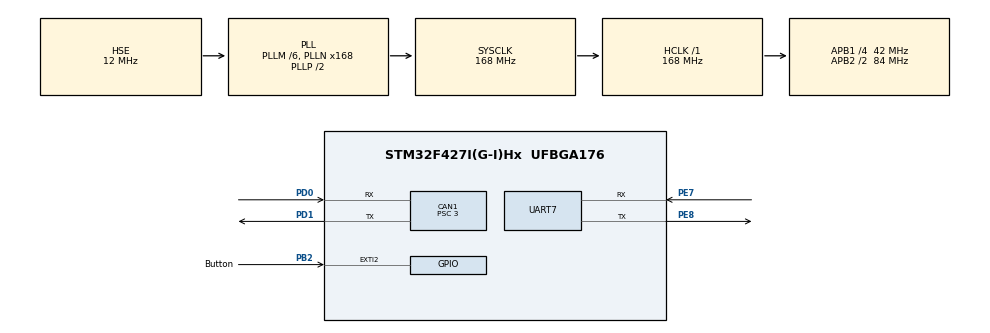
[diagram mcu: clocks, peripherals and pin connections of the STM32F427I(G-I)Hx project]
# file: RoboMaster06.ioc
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CAN1.ABOM=ENABLE
CAN1.BS1=CAN_BS1_11TQ
CAN1.BS2=CAN_BS2_2TQ
CAN1.CalculateTimeQuantum=71.42857142857143
CAN1.NART=ENABLE
CAN1.Prescaler=3
Mcu.Family=STM32F4
Mcu.Name=STM32F427I(G-I)Hx
Mcu.Package=UFBGA176
NVIC.CAN1_RX0_IRQn=true\:1\:0\:true\:false\:true\:true\:true
NVIC.CAN1_TX_IRQn=true\:1\:0\:true\:false\:true\:true\:true
NVIC.EXTI2_IRQn=true\:1\:0\:true\:false\:true\:true\:true
NVIC.PriorityGroup=NVIC_PRIORITYGROUP_4
NVIC.UART7_IRQn=true\:1\:0\:true\:false\:true\:true\:true
PB2/BOOT1.GPIO_Label=Button
PB2/BOOT1.Signal=GPXTI2
PD0.Mode=Master
PD0.Signal=CAN1_RX
PD1.Mode=Master
PD1.Signal=CAN1_TX
PE7.Mode=Asynchronous
PE7.Signal=UART7_RX
PE8.Mode=Asynchronous
PE8.Signal=UART7_TX
PH0/OSC_IN.Mode=HSE-External-Oscillator
PH0/OSC_IN.Signal=RCC_OSC_IN
PH1/OSC_OUT.Mode=HSE-External-Oscillator
PH1/OSC_OUT.Signal=RCC_OSC_OUT
ProjectManager.HeapSize=0x200
ProjectManager.StackSize=0x400
ProjectManager.TargetToolchain=SW4STM32
RCC.48MHZClocksFreq_Value=84000000
RCC.AHBFreq_Value=168000000
RCC.APB1CLKDivider=RCC_HCLK_DIV4
RCC.APB1Freq_Value=42000000
RCC.APB1TimFreq_Value=84000000
RCC.APB2CLKDivider=RCC_HCLK_DIV2
RCC.APB2Freq_Value=84000000
RCC.APB2TimFreq_Value=168000000
RCC.CortexFreq_Value=168000000
RCC.HCLKFreq_Value=168000000
RCC.HSE_VALUE=12000000
RCC.HSI_VALUE=16000000
RCC.LSE_VALUE=32768
RCC.PLLM=6
RCC.PLLN=168
RCC.PLLSourceVirtual=RCC_PLLSOURCE_HSE
RCC.SYSCLKFreq_VALUE=168000000
RCC.SYSCLKSource=RCC_SYSCLKSOURCE_PLLCLK
RCC.VCOOutputFreq_Value=336000000
UART7.VirtualMode=Asynchronous
board=custom

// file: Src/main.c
/* USER CODE BEGIN Header */
/**
  ******************************************************************************
  * @file           : main.c
  * @brief          : Main program body
  ******************************************************************************
  * @attention
  *
  * <h2><center>&copy; Copyright (c) 2020 STMicroelectronics.
  * All rights reserved.</center></h2>
  *
  * This software component is licensed by ST under BSD 3-Clause license,
  * the "License"; You may not use this file except in compliance with the
  * License. You may obtain a copy of the License at:
  *                        opensource.org/licenses/BSD-3-Clause
  *
  ******************************************************************************
  */
/* USER CODE END Header */

#include "main.h"

/* USER CODE BEGIN Includes */
#include "string.h"
#include "stdio.h"
/* USER CODE END Includes */

/* USER CODE BEGIN PTD */
typedef struct{
	uint8_t     motor_id;
	int16_t     angle;
	int16_t     current_get;
	int16_t     speed_rpm;
	uint8_t     temperature;
}motor_3508_t;
/* USER CODE END PTD */

/* USER CODE BEGIN PD */
#define CAN1_DEVICE_NUM     4
#define FIRST_GROUP_ID      0x200
#define MOTOR_SPEED_MAX     16384
#define CAN_DATA_SIZE       8
#define CAN1_RX_ID_START    0x201
#define MOTOR_ID            2
/* USER CODE END PD */

CAN_HandleTypeDef hcan1;

UART_HandleTypeDef huart7;

/* USER CODE BEGIN PV */
int16_t speedFlag=0;
uint8_t can1_rx_buffer[CAN1_DEVICE_NUM][CAN_DATA_SIZE];
motor_3508_t motorPrintTest={.motor_id=MOTOR_ID};
/* USER CODE END PV */

void SystemClock_Config(void);
static void MX_GPIO_Init(void);
static void MX_CAN1_Init(void);
static void MX_UART7_Init(void);
/* USER CODE BEGIN PFP */
void can_filter_enable(CAN_HandleTypeDef* hcan);
void can_filter_disable(CAN_HandleTypeDef* hcan);
void can_transmit(CAN_HandleTypeDef* hcan, uint16_t id, int16_t msg1, int16_t msg2, int16_t msg3, int16_t msg4);
/* USER CODE END PFP */

int main(void)
{

  /* MCU Configuration--------------------------------------------------------*/

  /* Reset of all peripherals, Initializes the Flash interface and the Systick. */
  HAL_Init();

  /* Configure the system clock */
  SystemClock_Config();

  /* Initialize all configured peripherals */
  MX_GPIO_Init();
  MX_CAN1_Init();
  MX_UART7_Init();
  /* USER CODE BEGIN 2 */
  can_filter_disable(&hcan1);
  HAL_CAN_ActivateNotification(&hcan1, CAN_IT_RX_FIFO0_MSG_PENDING);
  HAL_CAN_Start(&hcan1);
  /* USER CODE END 2 */

  /* Infinite loop */
  /* USER CODE BEGIN WHILE */
  while (1)
  {
  	while(speedFlag <= MOTOR_SPEED_MAX/12){
  		can_transmit(&hcan1,FIRST_GROUP_ID,speedFlag,speedFlag,speedFlag,speedFlag);
	    speedFlag++;
  		HAL_Delay(1);
  	}
  	while(speedFlag >= -MOTOR_SPEED_MAX/12){
  		can_transmit(&hcan1,FIRST_GROUP_ID,speedFlag,speedFlag,speedFlag,speedFlag);
	    speedFlag--;
	    HAL_Delay(1);
  	}
    /* USER CODE END WHILE */

  }
}

void SystemClock_Config(void)
{
  RCC_OscInitTypeDef RCC_OscInitStruct = {0};
  RCC_ClkInitTypeDef RCC_ClkInitStruct = {0};

  /** Configure the main internal regulator output voltage
  */
  __HAL_RCC_PWR_CLK_ENABLE();
  __HAL_PWR_VOLTAGESCALING_CONFIG(PWR_REGULATOR_VOLTAGE_SCALE1);
  /** Initializes the CPU, AHB and APB busses clocks
  */
  RCC_OscInitStruct.OscillatorType = RCC_OSCILLATORTYPE_HSE;
  RCC_OscInitStruct.HSEState = RCC_HSE_ON;
  RCC_OscInitStruct.PLL.PLLState = RCC_PLL_ON;
  RCC_OscInitStruct.PLL.PLLSource = RCC_PLLSOURCE_HSE;
  RCC_OscInitStruct.PLL.PLLM = 6;
  RCC_OscInitStruct.PLL.PLLN = 168;
  RCC_OscInitStruct.PLL.PLLP = RCC_PLLP_DIV2;
  RCC_OscInitStruct.PLL.PLLQ = 4;
  if (HAL_RCC_OscConfig(&RCC_OscInitStruct) != HAL_OK)
  {
    Error_Handler();
  }
  /** Initializes the CPU, AHB and APB busses clocks
  */
  RCC_ClkInitStruct.ClockType = RCC_CLOCKTYPE_HCLK|RCC_CLOCKTYPE_SYSCLK
                              |RCC_CLOCKTYPE_PCLK1|RCC_CLOCKTYPE_PCLK2;
  RCC_ClkInitStruct.SYSCLKSource = RCC_SYSCLKSOURCE_PLLCLK;
  RCC_ClkInitStruct.AHBCLKDivider = RCC_SYSCLK_DIV1;
  RCC_ClkInitStruct.APB1CLKDivider = RCC_HCLK_DIV4;
  RCC_ClkInitStruct.APB2CLKDivider = RCC_HCLK_DIV2;

  if (HAL_RCC_ClockConfig(&RCC_ClkInitStruct, FLASH_LATENCY_5) != HAL_OK)
  {
    Error_Handler();
  }
}

static void MX_CAN1_Init(void)
{

  hcan1.Instance = CAN1;
  hcan1.Init.Prescaler = 3;
  hcan1.Init.Mode = CAN_MODE_NORMAL;
  hcan1.Init.SyncJumpWidth = CAN_SJW_1TQ;
  hcan1.Init.TimeSeg1 = CAN_BS1_11TQ;
  hcan1.Init.TimeSeg2 = CAN_BS2_2TQ;
  hcan1.Init.TimeTriggeredMode = DISABLE;
  hcan1.Init.AutoBusOff = ENABLE;
  hcan1.Init.AutoWakeUp = DISABLE;
  hcan1.Init.AutoRetransmission = ENABLE;
  hcan1.Init.ReceiveFifoLocked = DISABLE;
  hcan1.Init.TransmitFifoPriority = DISABLE;
  if (HAL_CAN_Init(&hcan1) != HAL_OK)
  {
    Error_Handler();
  }

}

static void MX_UART7_Init(void)
{

  huart7.Instance = UART7;
  huart7.Init.BaudRate = 115200;
  huart7.Init.WordLength = UART_WORDLENGTH_8B;
  huart7.Init.StopBits = UART_STOPBITS_1;
  huart7.Init.Parity = UART_PARITY_NONE;
  huart7.Init.Mode = UART_MODE_TX_RX;
  huart7.Init.HwFlowCtl = UART_HWCONTROL_NONE;
  huart7.Init.OverSampling = UART_OVERSAMPLING_16;
  if (HAL_UART_Init(&huart7) != HAL_OK)
  {
    Error_Handler();
  }

}

static void MX_GPIO_Init(void)
{
  GPIO_InitTypeDef GPIO_InitStruct = {0};

  /* GPIO Ports Clock Enable */
  __HAL_RCC_GPIOD_CLK_ENABLE();
  __HAL_RCC_GPIOH_CLK_ENABLE();
  __HAL_RCC_GPIOB_CLK_ENABLE();
  __HAL_RCC_GPIOE_CLK_ENABLE();

  /*Configure GPIO pin : Button_Pin */
  GPIO_InitStruct.Pin = Button_Pin;
  GPIO_InitStruct.Mode = GPIO_MODE_IT_RISING;
  GPIO_InitStruct.Pull = GPIO_NOPULL;
  HAL_GPIO_Init(Button_GPIO_Port, &GPIO_InitStruct);

  /* EXTI interrupt init*/
  HAL_NVIC_SetPriority(EXTI2_IRQn, 1, 0);
  HAL_NVIC_EnableIRQ(EXTI2_IRQn);

}

/* USER CODE BEGIN 4 */
void can_filter_enable(CAN_HandleTypeDef* hcan){
	CAN_FilterTypeDef CAN_FilterConfigStructure;

	CAN_FilterConfigStructure.FilterIdHigh = 0x0000;
	CAN_FilterConfigStructure.FilterIdLow = 0x0000;
	CAN_FilterConfigStructure.FilterMaskIdHigh = 0x0000;
	CAN_FilterConfigStructure.FilterMaskIdLow = 0x0000;
	CAN_FilterConfigStructure.FilterFIFOAssignment = CAN_FILTER_FIFO0;
	CAN_FilterConfigStructure.FilterMode = CAN_FILTERMODE_IDMASK;
	CAN_FilterConfigStructure.FilterScale = CAN_FILTERSCALE_32BIT;
	CAN_FilterConfigStructure.FilterActivation = ENABLE;
	CAN_FilterConfigStructure.SlaveStartFilterBank = 27;

	CAN_FilterConfigStructure.FilterBank = 0;

	HAL_CAN_ConfigFilter(hcan, &CAN_FilterConfigStructure);
}

void can_filter_disable(CAN_HandleTypeDef* hcan){
	CAN_FilterTypeDef CAN_FilterConfigStructure;

	CAN_FilterConfigStructure.FilterIdHigh = 0x0000;
	CAN_FilterConfigStructure.FilterIdLow = 0x0000;
	CAN_FilterConfigStructure.FilterMaskIdHigh = 0x0000;
	CAN_FilterConfigStructure.FilterMaskIdLow = 0x0000;
	CAN_FilterConfigStructure.FilterFIFOAssignment = CAN_FILTER_FIFO0;
	CAN_FilterConfigStructure.FilterMode = CAN_FILTERMODE_IDMASK;
	CAN_FilterConfigStructure.FilterScale = CAN_FILTERSCALE_32BIT;
	CAN_FilterConfigStructure.FilterActivation = DISABLE;
	CAN_FilterConfigStructure.SlaveStartFilterBank = 27;

	CAN_FilterConfigStructure.FilterBank = 0;

	HAL_CAN_ConfigFilter(hcan, &CAN_FilterConfigStructure);
}

void can_transmit(CAN_HandleTypeDef* hcan, uint16_t id, int16_t msg1, int16_t msg2, int16_t msg3, int16_t msg4){
	CAN_TxHeaderTypeDef tx_header;
	uint8_t             data[8];
	uint32_t            pTxMailbox;

	tx_header.StdId = id;
	tx_header.IDE   = CAN_ID_STD;
	tx_header.RTR   = CAN_RTR_DATA;
	tx_header.DLC   = CAN_DATA_SIZE;
	tx_header.TransmitGlobalTime = DISABLE;
	data[0] = msg1 >> 8;
	data[1] = msg1;
	data[2] = msg2 >> 8;
	data[3] = msg2;
	data[4] = msg3 >> 8;
	data[5] = msg3;
	data[6] = msg4 >> 8;
	data[7] = msg4;

	if (HAL_CAN_AddTxMessage(hcan, &tx_header, data, &pTxMailbox) == HAL_OK){
		while (HAL_CAN_IsTxMessagePending(hcan, pTxMailbox));
	}
}

void HAL_CAN_RxFifo0MsgPendingCallback(CAN_HandleTypeDef *hcan){
	CAN_RxHeaderTypeDef rx_header;
	rx_header.StdId = (CAN_RI0R_STID & hcan->Instance->sFIFOMailBox[CAN_RX_FIFO0].RIR) >> CAN_TI0R_STID_Pos;
	uint8_t idx = rx_header.StdId - CAN1_RX_ID_START;
	HAL_CAN_GetRxMessage(hcan, CAN_RX_FIFO0, &rx_header, can1_rx_buffer[idx]);
}

void can1_read(uint8_t id, uint8_t buf[CAN_DATA_SIZE]){
	memcpy(buf, can1_rx_buffer[--id], CAN_DATA_SIZE);
}

void get_motor_data(motor_3508_t *motor, uint8_t buf[CAN_DATA_SIZE]){
	motor->angle        = (int16_t)(buf[0] << 8 | buf[1]);
	motor->speed_rpm    = (int16_t)(buf[2] << 8 | buf[3]);
	motor->current_get  = (int16_t)(buf[4] << 8 | buf[5]);
	motor->temperature  = (uint8_t)buf[6];
}

void print_motor_data(motor_3508_t *motor, char *msg){
	sprintf(msg, "======== 3508 at CAN bus ========\r\n"\
	             "ID           %d\r\n"\
	             "Angle        %d\r\n"\
	             "Current      %d\r\n"\
	             "Speed        %d\r\n"\
	             "Temperature  %u\r\n"\
	             "=================================\r\n\r\n"\
	             , motor->motor_id, motor->angle, motor->current_get, motor->speed_rpm, motor->temperature);
}

void HAL_GPIO_EXTI_Callback(uint16_t GPIO_Pin){
	if(GPIO_Pin == Button_Pin){
		can_filter_enable(&hcan1);
		uint8_t motorStatus[CAN_DATA_SIZE];
		char motorMsg[250];
		can1_read(MOTOR_ID,motorStatus);
		get_motor_data(&motorPrintTest, motorStatus);
		print_motor_data(&motorPrintTest, motorMsg);
		HAL_UART_Transmit(&huart7, (uint8_t*)motorMsg, strlen(motorMsg), HAL_MAX_DELAY);
		can_filter_disable(&hcan1);
	}
}
/* USER CODE END 4 */

void Error_Handler(void)
{
}

/************************ (C) COPYRIGHT STMicroelectronics *****END OF FILE****/
